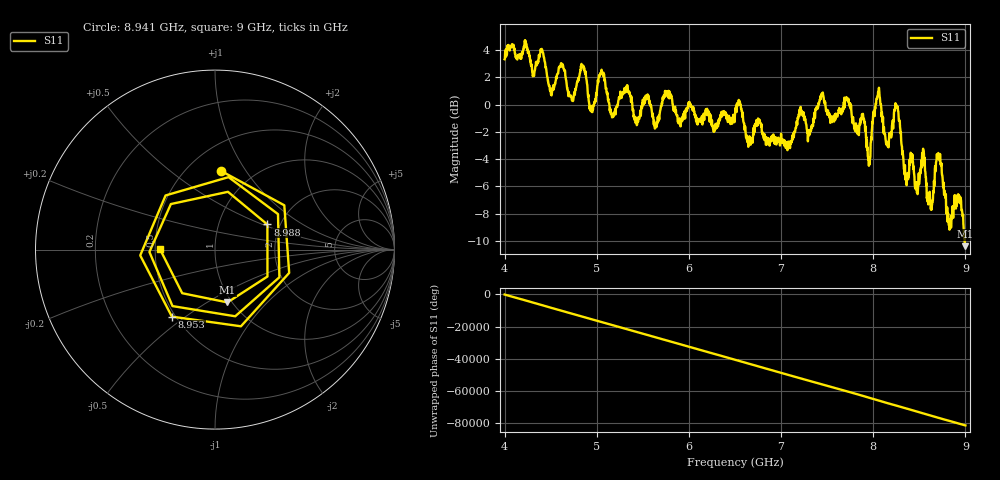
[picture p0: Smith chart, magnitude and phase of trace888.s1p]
! Created with skrf 1.8.0 (http://scikit-rf.org).
# Hz S RI R 50.0
!freq ReS11 ImS11
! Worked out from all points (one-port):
!   1601 points, 4 GHz to 9 GHz, reference 50 ohm
!   lowest |S11| = -10.4 dB at 8.994 GHz (marker M1), VSWR 1.87, Z = 47.7 - j30.9 ohm
!   |S11| at or under -10 dB: 8.992375 GHz to end of sweep
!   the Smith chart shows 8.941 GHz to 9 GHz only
!   S11 on the Smith chart (normalised r, x): 8.941 GHz: 0.71, +0.78; 8.953 GHz: 0.48, -0.45; 8.988 GHz: 1.72, +0.54; 9 GHz: 0.53, +0.01
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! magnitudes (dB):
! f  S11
! 4 GHz  3.3
! 4.512 GHz  0.8
! 4.625 GHz  2.9
! 4.725 GHz  0.5
! 4.853 GHz  2.9
! 4.944 GHz  -0.5
! 5.047 GHz  2.3
! 5.162 GHz  -0.7
! 5.25 GHz  0.4
! 5.875 GHz  -0.8
! 6.5 GHz  -0.7
! 7.125 GHz  -2.2
! 7.438 GHz  0.8
! 7.75 GHz  0.1
! 7.953 GHz  -4.5
! 8.047 GHz  0.6
! 8.147 GHz  -2.7
! 8.25 GHz  0.0
! 8.375 GHz  -5.2
! 8.541 GHz  -3.2
! 8.622 GHz  -7.0
! 8.709 GHz  -3.8
! 8.822 GHz  -8.9
! 8.941 GHz  -7.1
! 8.953 GHz  -7.1
! 8.988 GHz  -9.8
! 8.994 GHz  -10.4
! 9 GHz  -10.2
